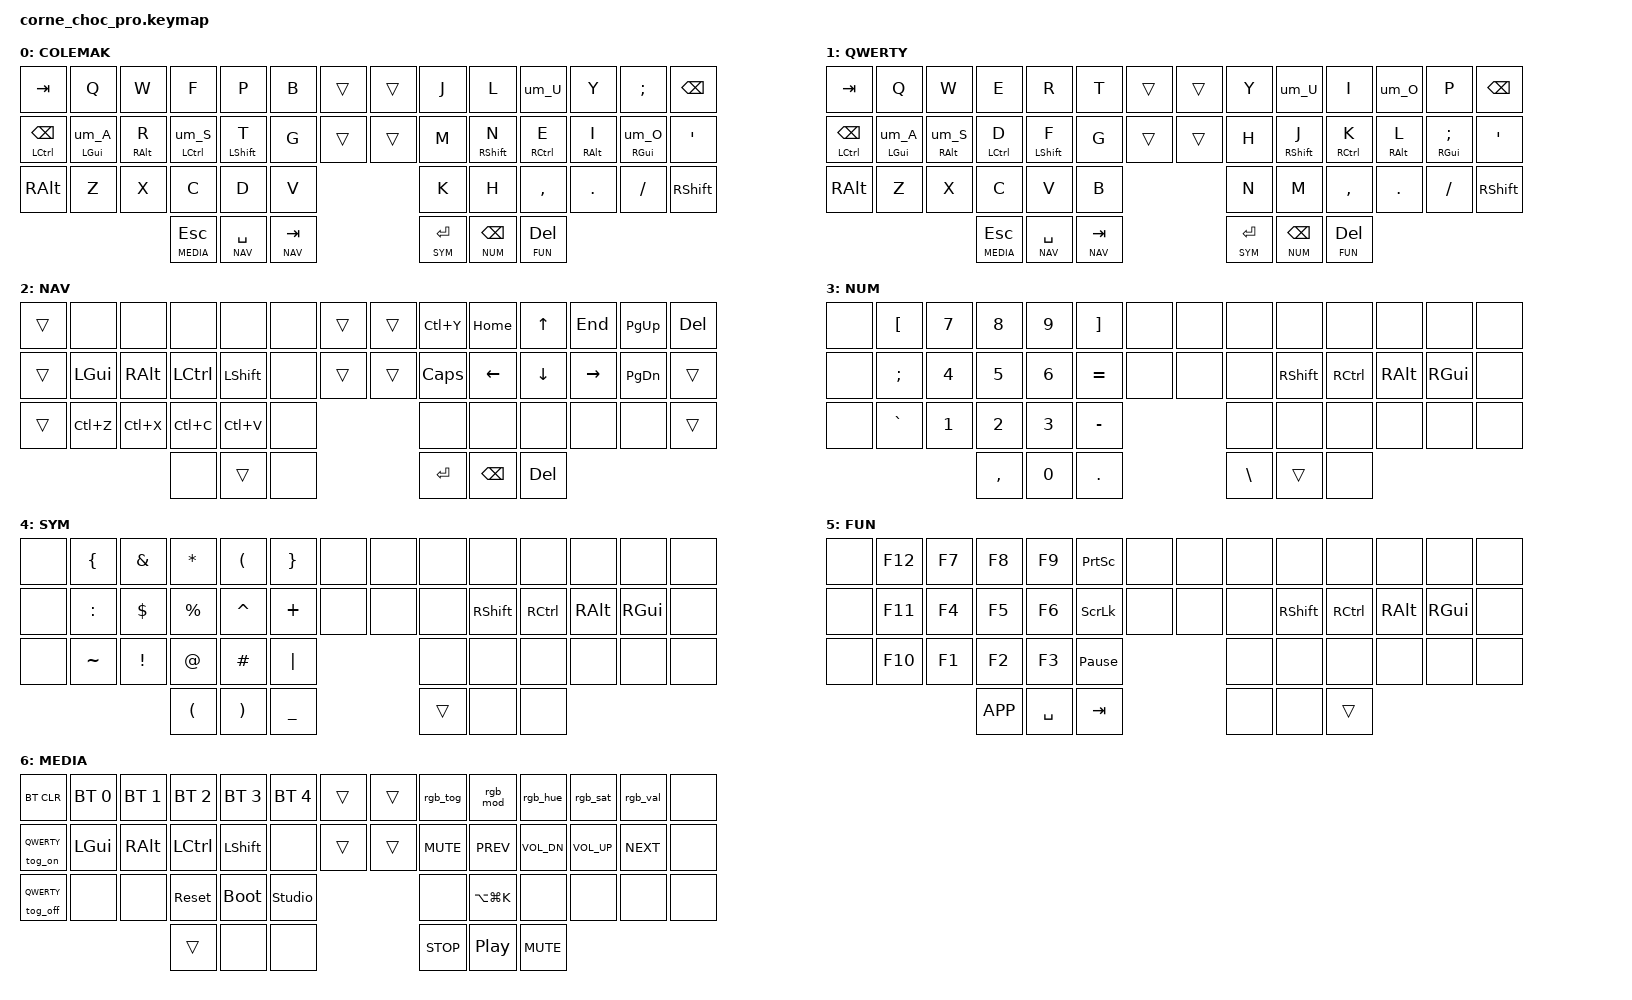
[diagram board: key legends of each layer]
/*
 * Copyright (c) 2020 The ZMK Contributors
 *
 * SPDX-License-Identifier: MIT
 */

#include <behaviors.dtsi>
#include <dt-bindings/zmk/bt.h>
#include <dt-bindings/zmk/keys.h>
#include <dt-bindings/zmk/rgb.h>

#define COLEMAK 0
#define QWERTY  1
#define NAV     2
#define NUM     3
#define SYM     4
#define FUN     5
#define MEDIA   6

/ {
    chosen { zmk,physical-layout = &default_layout; };
};

// Key positions (6, 7, 20, 21 are not populated, the displays sit there):
//
//  0  1  2  3  4  5   6    7   8  9 10 11 12 13
// 14 15 16 17 18 19  20   21  22 23 24 25 26 27
// 28 29 30 31 32 33           34 35 36 37 38 39
//             40 41 42     43 44 45

/ {
    behaviors {
        um_A: um_A {
            compatible = "zmk,behavior-mod-morph";
            bindings = <&kp A>, <&kp RA(Q)>;

            #binding-cells = <0>;
            mods = <(MOD_RALT)>;
            keep-mods = <(MOD_RALT)>;
        };

        um_S: um_S {
            compatible = "zmk,behavior-mod-morph";
            bindings = <&kp S>, <&kp RA(S)>;

            #binding-cells = <0>;
            mods = <(MOD_RALT)>;
            keep-mods = <(MOD_RALT)>;
        };

        um_U: um_U {
            compatible = "zmk,behavior-mod-morph";
            bindings = <&kp U>, <&kp RA(Y)>;

            #binding-cells = <0>;
            mods = <(MOD_RALT)>;
            keep-mods = <(MOD_RALT)>;
        };

        um_O: um_O {
            compatible = "zmk,behavior-mod-morph";
            bindings = <&kp O>, <&kp RA(P)>;

            #binding-cells = <0>;
            mods = <(MOD_RALT)>;
            keep-mods = <(MOD_RALT)>;
        };

        tog_on: toggle_layer_on_only {
            compatible = "zmk,behavior-toggle-layer";
            #binding-cells = <1>;
            toggle-mode = "on";
        };

        tog_off: toggle_layer_off_only {
            compatible = "zmk,behavior-toggle-layer";
            #binding-cells = <1>;
            toggle-mode = "off";
        };

        hold_tap: hold_tap {
            compatible = "zmk,behavior-hold-tap";
            bindings = <&kp>, <&kp>;

            #binding-cells = <2>;
            tapping-term-ms = <150>;
            flavor = "tap-preferred";
        };

        hml: hml {
            compatible = "zmk,behavior-hold-tap";
            bindings = <&kp>, <&kp>;

            #binding-cells = <2>;
            hold-trigger-key-positions = <7 8 9 10 11 12 13 21 22 23 24 25 26 27 34 35 36 37 38 39 40 41 42 43 44 45>;
            flavor = "balanced";
            hold-trigger-on-release;
            require-prior-idle-ms = <125>;
            quick-tap-ms = <175>;
            tapping-term-ms = <280>;
        };

        hmr: hmr {
            compatible = "zmk,behavior-hold-tap";
            bindings = <&kp>, <&kp>;

            #binding-cells = <2>;
            flavor = "balanced";
            hold-trigger-on-release;
            require-prior-idle-ms = <125>;
            quick-tap-ms = <175>;
            tapping-term-ms = <280>;
            hold-trigger-key-positions = <0 1 2 3 4 5 6 14 15 16 17 18 19 20 28 29 30 31 32 33 40 41 42 43 44 45>;
        };

        hml_a: hml_a {
            compatible = "zmk,behavior-hold-tap";
            bindings = <&kp>, <&um_A>;

            #binding-cells = <2>;
            hold-trigger-key-positions = <7 8 9 10 11 12 13 21 22 23 24 25 26 27 34 35 36 37 38 39 40 41 42 43 44 45>;
            flavor = "balanced";
            hold-trigger-on-release;
            require-prior-idle-ms = <125>;
            quick-tap-ms = <175>;
            tapping-term-ms = <280>;
        };

        hml_s: hml_s {
            compatible = "zmk,behavior-hold-tap";
            bindings = <&kp>, <&um_S>;

            #binding-cells = <2>;
            hold-trigger-key-positions = <7 8 9 10 11 12 13 21 22 23 24 25 26 27 34 35 36 37 38 39 40 41 42 43 44 45>;
            flavor = "balanced";
            hold-trigger-on-release;
            require-prior-idle-ms = <125>;
            quick-tap-ms = <175>;
            tapping-term-ms = <280>;
        };

        hmr_o: hmr_o {
            compatible = "zmk,behavior-hold-tap";
            bindings = <&kp>, <&um_O>;

            #binding-cells = <2>;
            flavor = "balanced";
            hold-trigger-on-release;
            require-prior-idle-ms = <125>;
            quick-tap-ms = <175>;
            tapping-term-ms = <280>;
            hold-trigger-key-positions = <0 1 2 3 4 5 6 14 15 16 17 18 19 20 28 29 30 31 32 33 40 41 42 43 44 45>;
        };

        rgb_tog: rgb_tog {
            compatible = "zmk,behavior-mod-morph";
            bindings = <&rgb_ug RGB_TOG>, <&rgb_ug RGB_OFF>;

            #binding-cells = <0>;
            mods = <(MOD_RSFT|MOD_LSFT)>;
            keep-mods = <(MOD_LSFT|MOD_RSFT)>;
        };

        rgb_mod: rgb_mod {
            compatible = "zmk,behavior-mod-morph";
            bindings = <&rgb_ug RGB_EFF>, <&rgb_ug RGB_EFR>;

            #binding-cells = <0>;
            mods = <(MOD_RSFT|MOD_LSFT)>;
            keep-mods = <(MOD_LSFT|MOD_RSFT)>;
        };

        rgb_hue: rgb_hue {
            compatible = "zmk,behavior-mod-morph";
            bindings = <&rgb_ug RGB_HUI>, <&rgb_ug RGB_HUD>;

            #binding-cells = <0>;
            mods = <(MOD_RSFT|MOD_LSFT)>;
            keep-mods = <(MOD_LSFT|MOD_RSFT)>;
        };

        rgb_sat: rgb_sat {
            compatible = "zmk,behavior-mod-morph";
            bindings = <&rgb_ug RGB_SAI>, <&rgb_ug RGB_SAD>;

            #binding-cells = <0>;
            mods = <(MOD_RSFT|MOD_LSFT)>;
            keep-mods = <(MOD_LSFT|MOD_RSFT)>;
        };

        rgb_val: rgb_val {
            compatible = "zmk,behavior-mod-morph";
            bindings = <&rgb_ug RGB_BRI>, <&rgb_ug RGB_BRD>;

            #binding-cells = <0>;
            mods = <(MOD_RSFT|MOD_LSFT)>;
            keep-mods = <(MOD_LSFT|MOD_RSFT)>;
        };
    };

    keymap {
        compatible = "zmk,keymap";

        // Legend: "X/Y" = hold X, tap Y. AGR = AltGr (RALT). A, S, U, O give
        // ä, ß, ü, ö when AltGr is held (Windows US-International).

        // | TAB      | Q     | W     | F     | P     | B |   | J | L     | U     | Y     | ;     | BSPC |
        // | CTL/BSPC | GUI/A | AGR/R | CTL/S | SFT/T | G |   | M | SFT/N | CTL/E | AGR/I | GUI/O | '    |
        // | AGR      | Z     | X     | C     | D     | V |   | K | H     | ,     | .     | /     | SFT  |
        //              | MEDIA/ESC | NAV/SPC | NAV/TAB |   | SYM/ENT | NUM/BSPC | FUN/DEL |
        colemak_layer {
            display-name = "COLEMAK";
            bindings = <
&kp TAB                           &kp Q          &kp W        &kp F           &kp P          &kp B        &trans  &trans  &kp J          &kp L              &um_U         &kp Y        &kp SEMI       &kp BSPC
&hold_tap LEFT_CONTROL BACKSPACE  &hml_a LGUI 0  &hml RALT R  &hml_s LCTRL 0  &hml LSHIFT T  &kp G        &trans  &trans  &kp M          &hmr RSHIFT N      &hmr RCTRL E  &hmr RALT I  &hmr_o RGUI 0  &kp SQT
&kp RALT                          &kp Z          &kp X        &kp C           &kp D          &kp V                        &kp K          &kp H              &kp COMMA     &kp DOT      &kp FSLH       &kp RSHFT
                                                              &lt MEDIA ESC   &lt NAV SPACE  &lt NAV TAB                  &lt SYM ENTER  &lt NUM BACKSPACE  &lt FUN DEL
            >;
        };

        // | TAB      | Q     | W     | E     | R     | T |   | Y | U     | I     | O     | P     | BSPC |
        // | CTL/BSPC | GUI/A | AGR/S | CTL/D | SFT/F | G |   | H | SFT/J | CTL/K | AGR/L | GUI/; | '    |
        // | AGR      | Z     | X     | C     | V     | B |   | N | M     | ,     | .     | /     | SFT  |
        //              | MEDIA/ESC | NAV/SPC | NAV/TAB |   | SYM/ENT | NUM/BSPC | FUN/DEL |
        qwerty_layer {
            display-name = "QWERTY";
            bindings = <
&kp TAB                           &kp Q          &kp W          &kp E           &kp R          &kp T        &trans  &trans  &kp Y          &um_U              &kp I         &um_O        &kp P           &kp BSPC
&hold_tap LEFT_CONTROL BACKSPACE  &hml_a LGUI 0  &hml_s RALT 0  &hml LCTRL D    &hml LSHIFT F  &kp G        &trans  &trans  &kp H          &hmr RSHIFT J      &hmr RCTRL K  &hmr RALT L  &hmr RGUI SEMI  &kp SQT
&kp RALT                          &kp Z          &kp X          &kp C           &kp V          &kp B                        &kp N          &kp M              &kp COMMA     &kp DOT      &kp FSLH        &kp RSHFT
                                                                &lt MEDIA ESC   &lt NAV SPACE  &lt NAV TAB                  &lt SYM ENTER  &lt NUM BACKSPACE  &lt FUN DEL
            >;
        };

        // (blank = transparent, xxx = no function)
        // |     | xxx  | xxx | xxx  | xxx   | xxx |   | REDO | HOME | UP   | END   | PGUP | DEL |
        // |     | GUI  | AGR | CTL  | SFT   | xxx |   | CAPS | LEFT | DOWN | RIGHT | PGDN |     |
        // |     | UNDO | CUT | COPY | PASTE | xxx |   | xxx  | xxx  | xxx  | xxx   | xxx  |     |
        //                    | xxx  |       | xxx |   | ENT  | BSPC | DEL  |
        navigation_layer {
            display-name = "NAV";
            bindings = <
&trans  &none      &none      &none      &none      &none  &trans  &trans  &kp LC(Y)  &kp HOME       &kp UP    &kp END    &kp PG_UP  &kp DELETE
&trans  &kp LGUI   &kp RALT   &kp LCTRL  &kp LSHFT  &none  &trans  &trans  &kp CAPS   &kp LEFT       &kp DOWN  &kp RIGHT  &kp PG_DN  &trans
&trans  &kp LC(Z)  &kp LC(X)  &kp LC(C)  &kp LC(V)  &none                  &none      &none          &none     &none      &none      &trans
                              &none      &trans     &none                  &kp ENTER  &kp BACKSPACE  &kp DEL
            >;
        };

        // | xxx | [ | 7 | 8 | 9 | ] |   | xxx | xxx | xxx | xxx | xxx | xxx |
        // | xxx | ; | 4 | 5 | 6 | = |   | xxx | SFT | CTL | AGR | GUI | xxx |
        // | xxx | ` | 1 | 2 | 3 | - |   | xxx | xxx | xxx | xxx | xxx | xxx |
        //               | , | 0 | . |   | \   |     | xxx |
        num_layer {
            display-name = "NUM";
            bindings = <
&none  &kp LEFT_BRACKET  &kp N7  &kp N8     &kp N9  &kp RIGHT_BRACKET  &none  &none  &none          &none       &none      &none     &none     &none
&none  &kp SEMI          &kp N4  &kp N5     &kp N6  &kp EQUAL          &none  &none  &none          &kp RSHIFT  &kp RCTRL  &kp RALT  &kp RGUI  &none
&none  &kp GRAVE         &kp N1  &kp N2     &kp N3  &kp MINUS                        &none          &none       &none      &none     &none     &none
                                 &kp COMMA  &kp N0  &kp DOT                          &kp BACKSLASH  &trans      &none
            >;
        };

        // | xxx | { | & | * | ( | } |   | xxx | xxx | xxx | xxx | xxx | xxx |
        // | xxx | : | $ | % | ^ | + |   | xxx | SFT | CTL | AGR | GUI | xxx |
        // | xxx | ~ | ! | @ | # | | |   | xxx | xxx | xxx | xxx | xxx | xxx |
        //               | ( | ) | _ |   |     | xxx | xxx |
        sym_layer {
            display-name = "SYM";
            bindings = <
&none  &kp LBRC   &kp AMPS  &kp ASTERISK  &kp LPAR   &kp RBRC   &none  &none  &none   &none       &none      &none     &none     &none
&none  &kp COLON  &kp DLLR  &kp PRCNT     &kp CARET  &kp PLUS   &none  &none  &none   &kp RSHIFT  &kp RCTRL  &kp RALT  &kp RGUI  &none
&none  &kp TILDE  &kp EXCL  &kp AT        &kp HASH   &kp PIPE                 &none   &none       &none      &none     &none     &none
                            &kp LPAR      &kp RPAR   &kp UNDER                &trans  &none       &none
            >;
        };

        // | xxx | F12 | F7 | F8  | F9  | PSCR  |   | xxx | xxx | xxx | xxx | xxx | xxx |
        // | xxx | F11 | F4 | F5  | F6  | SLCK  |   | xxx | SFT | CTL | AGR | GUI | xxx |
        // | xxx | F10 | F1 | F2  | F3  | PAUSE |   | xxx | xxx | xxx | xxx | xxx | xxx |
        //                  | APP | SPC | TAB   |   | xxx | xxx |     |
        fun_layer {
            display-name = "FUN";
            bindings = <
&none  &kp F12  &kp F7  &kp F8     &kp F9     &kp PRINTSCREEN  &none  &none  &none  &none       &none      &none     &none     &none
&none  &kp F11  &kp F4  &kp F5     &kp F6     &kp SCROLLLOCK   &none  &none  &none  &kp RSHIFT  &kp RCTRL  &kp RALT  &kp RGUI  &none
&none  &kp F10  &kp F1  &kp F2     &kp F3     &kp PAUSE_BREAK                &none  &none       &none      &none     &none     &none
                        &kp K_APP  &kp SPACE  &kp TAB                        &none  &none       &trans
            >;
        };

        // RGB keys: with Shift the reverse direction (TOG -> off, EFF -> previous, HUE/SAT/BRI -> decrease)
        // QW ON / QW OFF: switch the QWERTY layer on / off. MIC = Win+Alt+K (mute microphone)
        // | BT CLR | BT 0 | BT 1 | BT 2  | BT 3 | BT 4   |   | RGB TOG | RGB EFF | RGB HUE | RGB SAT | RGB BRI | xxx |
        // | QW ON  | GUI  | AGR  | CTL   | SFT  | xxx    |   | MUTE    | PREV    | VOL-    | VOL+    | NEXT    | xxx |
        // | QW OFF | xxx  | xxx  | RESET | BOOT | STUDIO |   | xxx     | MIC     | xxx     | xxx     | xxx     | xxx |
        //                        |       | xxx  | xxx    |   | STOP    | PLAY    | MUTE    |
        media_layer {
            display-name = "MEDIA";
            bindings = <
&bt BT_CLR       &bt BT_SEL 0  &bt BT_SEL 1  &bt BT_SEL 2  &bt BT_SEL 3  &bt BT_SEL 4    &trans  &trans  &rgb_tog    &rgb_mod          &rgb_hue      &rgb_sat      &rgb_val    &none
&tog_on QWERTY   &kp LGUI      &kp RALT      &kp LCTRL     &kp LSHFT     &none           &trans  &trans  &kp C_MUTE  &kp C_PREV        &kp C_VOL_DN  &kp C_VOL_UP  &kp C_NEXT  &none
&tog_off QWERTY  &none         &none         &sys_reset    &bootloader   &studio_unlock                  &none       &kp LA(LG(K))     &none         &none         &none       &none
                                             &trans        &none         &none                           &kp C_STOP  &kp C_PLAY_PAUSE  &kp C_MUTE
            >;
        };
    };
};
